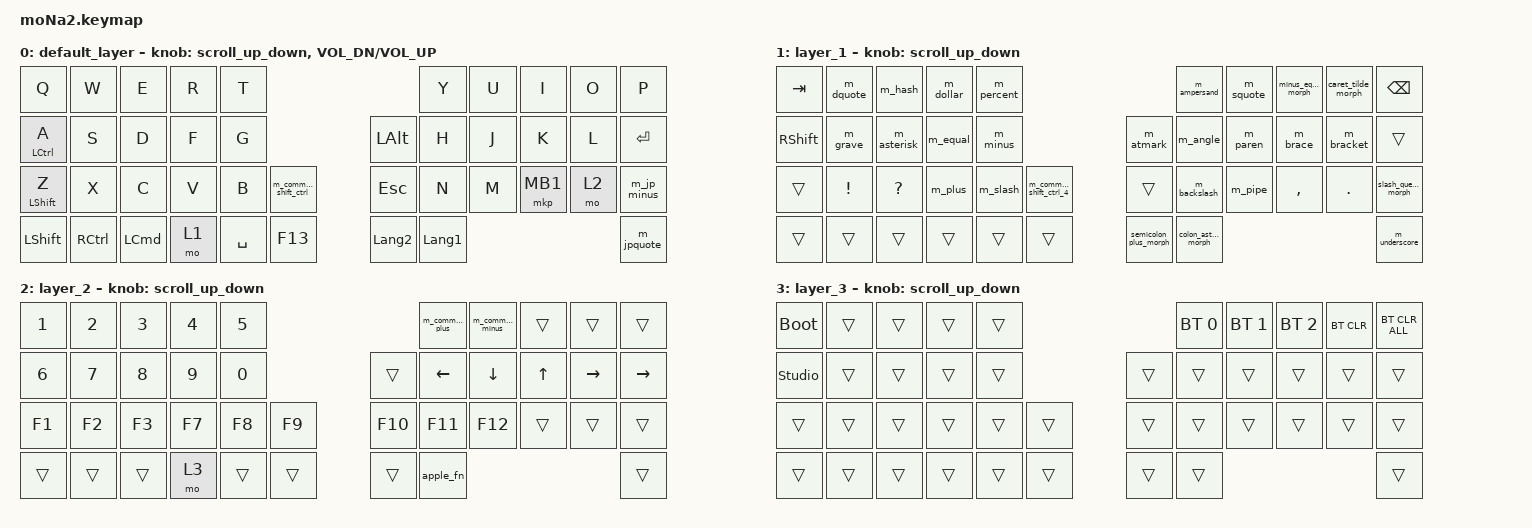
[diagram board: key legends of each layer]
// Define before including pointing.h to avoid redefinition warnings

#define ZMK_POINTING_DEFAULT_SCRL_VAL 100

#include <behaviors.dtsi>
#include <dt-bindings/zmk/bt.h>
#include <dt-bindings/zmk/keys.h>
#include <dt-bindings/zmk/pointing.h>

&mt {
    flavor = "balanced";
    quick-tap-ms = <0>;
};

/ {
    combos { compatible = "zmk,combos"; };

    macros {
        to_layer_0: to_layer_0 {
            compatible = "zmk,behavior-macro-one-param";
            #binding-cells = <1>;
            bindings = <&to 0 &macro_param_1to1 &kp MACRO_PLACEHOLDER>;
        };

        m_atmark: atmark {
            compatible = "zmk,behavior-macro";
            #binding-cells = <0>;
            bindings = <&kp LANG2 &kp AT>;
        };

        m_hash: hash {
            compatible = "zmk,behavior-macro";
            #binding-cells = <0>;
            bindings = <&kp LANG2 &kp HASH>;
        };

        m_dollar: dollar {
            compatible = "zmk,behavior-macro";
            #binding-cells = <0>;
            bindings = <&kp LANG2 &kp DOLLAR>;
        };

        m_percent: percent {
            compatible = "zmk,behavior-macro";
            #binding-cells = <0>;
            bindings = <&kp LANG2 &kp PERCENT>;
        };

        m_ampersand: ampersand {
            compatible = "zmk,behavior-macro";
            #binding-cells = <0>;
            bindings = <&kp LANG2 &kp AMPERSAND>;
        };

        m_minus: minus {
            compatible = "zmk,behavior-macro";
            #binding-cells = <0>;
            bindings = <&kp MINUS>;
        };

        m_caret: caret {
            compatible = "zmk,behavior-macro";
            #binding-cells = <0>;
            bindings = <&kp LANG2 &kp CARET>;
        };

        m_backslash: backslash {
            compatible = "zmk,behavior-macro";
            #binding-cells = <0>;
            bindings = <&kp LANG2 &kp BACKSLASH>;
        };

        m_tilde: tilde {
            compatible = "zmk,behavior-macro";
            #binding-cells = <0>;
            bindings = <&kp LANG2 &kp TILDE>;
        };

        m_pipe: pipe {
            compatible = "zmk,behavior-macro";
            #binding-cells = <0>;
            bindings = <&kp LANG2 &kp PIPE>;
        };

        m_asterisk: asterisk {
            compatible = "zmk,behavior-macro";
            #binding-cells = <0>;
            bindings = <&kp LANG2 &kp ASTERISK>;
        };

        m_plus: plus {
            compatible = "zmk,behavior-macro";
            #binding-cells = <0>;
            bindings = <&kp LANG2 &kp PLUS>;
        };

        m_equal: equal {
            compatible = "zmk,behavior-macro";
            #binding-cells = <0>;
            bindings = <&kp LANG2 &kp EQUAL>;
        };

        m_underscore: underscore {
            compatible = "zmk,behavior-macro";
            #binding-cells = <0>;
            bindings = <&kp LANG2 &kp UNDERSCORE>;
        };

        m_paren: paren {
            compatible = "zmk,behavior-macro";
            #binding-cells = <0>;
            bindings = <&kp LANG2 &kp LPAR &kp RPAR &kp LEFT>;
        };

        m_bracket: bracket {
            compatible = "zmk,behavior-macro";
            #binding-cells = <0>;
            bindings = <&kp LANG2 &kp LBKT &kp RBKT &kp LEFT>;
        };

        m_brace: brace {
            compatible = "zmk,behavior-macro";
            #binding-cells = <0>;
            bindings = <&kp LANG2 &kp LBRC &kp RBRC &kp LEFT>;
        };

        m_angle: angle {
            compatible = "zmk,behavior-macro";
            #binding-cells = <0>;
            bindings = <&kp LANG2 &kp LT &kp GT &kp LEFT>;
        };

        m_dquote: dquote {
            compatible = "zmk,behavior-macro";
            #binding-cells = <0>;
            bindings = <&kp LANG2 &kp DQT &kp DQT &kp LEFT>;
        };

        m_squote: squote {
            compatible = "zmk,behavior-macro";
            #binding-cells = <0>;
            bindings = <&kp LANG2 &kp SQT &kp SQT &kp LEFT>;
        };

        m_grave: grave {
            compatible = "zmk,behavior-macro";
            #binding-cells = <0>;
            bindings = <&kp LANG2 &kp GRAVE &kp GRAVE &kp LEFT>;
        };

        m_jpquote: jpquote {
            compatible = "zmk,behavior-macro";
            #binding-cells = <0>;
            bindings = <&kp LANG1 &kp LBKT &kp RBKT &kp ENTER &kp LEFT>;
        };

        m_colon: colon {
            compatible = "zmk,behavior-macro";
            #binding-cells = <0>;
            bindings = <&kp LANG2 &kp COLON>;
        };

        m_semicolon: semicolon {
            compatible = "zmk,behavior-macro";
            #binding-cells = <0>;
            bindings = <&kp LANG2 &kp SEMICOLON>;
        };

        m_slash: slash {
            compatible = "zmk,behavior-macro";
            #binding-cells = <0>;
            bindings = <&kp LANG2 &kp SLASH>;
        };

        m_question: question {
            compatible = "zmk,behavior-macro";
            #binding-cells = <0>;
            bindings = <&kp LANG2 &kp QUESTION>;
        };

        m_jp_minus: m_jp_minus {
            compatible = "zmk,behavior-macro";
            #binding-cells = <0>;
            bindings = <&kp LANG1 &kp MINUS>;
        };

        m_command_shift_ctrl: m_command_shift_ctrl {
            compatible = "zmk,behavior-macro";
            #binding-cells = <0>;
            bindings =
                <&macro_press>,
                <&kp LEFT_COMMAND &kp LEFT_SHIFT &kp RCTRL>,
                <&macro_pause_for_release>,
                <&macro_release>,
                <&kp LEFT_COMMAND &kp LEFT_SHIFT &kp RCTRL>;
        };

        m_command_shift_ctrl_4: m_command_shift_ctrl_4 {
            compatible = "zmk,behavior-macro";
            #binding-cells = <0>;
            bindings =
                <&macro_press>,
                <&kp LEFT_COMMAND &kp LEFT_SHIFT &kp RCTRL>,
                <&macro_tap>,
                <&kp NUMBER_4>,
                <&macro_release>,
                <&kp LEFT_COMMAND &kp LEFT_SHIFT &kp RCTRL>;
        };

        m_command_plus: m_command_plus {
            compatible = "zmk,behavior-macro";
            #binding-cells = <0>;
            bindings =
                <&macro_press>,
                <&kp LEFT_COMMAND>,
                <&macro_tap>,
                <&kp EQUAL>,
                <&macro_release>,
                <&kp LEFT_COMMAND>;
        };

        m_command_minus: m_command_minus {
            compatible = "zmk,behavior-macro";
            #binding-cells = <0>;
            bindings =
                <&macro_press>,
                <&kp LEFT_COMMAND>,
                <&macro_tap>,
                <&kp MINUS>,
                <&macro_release>,
                <&kp LEFT_COMMAND>;
        };

    };

    behaviors {
        lt_to_layer_0: lt_to_layer_0 {
            compatible = "zmk,behavior-hold-tap";
            bindings = <&mo>, <&to_layer_0>;

            #binding-cells = <2>;
            tapping-term-ms = <200>;
        };

        scroll_up_down: behavior_sensor_rotate_mouse_wheel_up_down {
            compatible = "zmk,behavior-sensor-rotate";
            #sensor-binding-cells = <0>;
            bindings = <&msc SCRL_UP>, <&msc SCRL_DOWN>;

            tap-ms = <20>;
        };

        minus_equal_morph: minus_equal_morph {
            compatible = "zmk,behavior-mod-morph";
            #binding-cells = <0>;
            bindings = <&m_minus>, <&m_equal>;

            mods = <(MOD_LSFT|MOD_RSFT)>;
        };

        caret_tilde_morph: caret_tilde_morph {
            compatible = "zmk,behavior-mod-morph";
            #binding-cells = <0>;
            bindings = <&m_caret>, <&m_tilde>;

            mods = <(MOD_LSFT|MOD_RSFT)>;
        };

        backslash_pipe_morph: backslash_pipe_morph {
            compatible = "zmk,behavior-mod-morph";
            #binding-cells = <0>;
            bindings = <&m_backslash>, <&m_pipe>;

            mods = <(MOD_LSFT|MOD_RSFT)>;
        };

        atmark_grave_morph: atmark_grave_morph {
            compatible = "zmk,behavior-mod-morph";
            #binding-cells = <0>;
            bindings = <&m_atmark>, <&m_grave>;

            mods = <(MOD_LSFT|MOD_RSFT)>;
        };

        bracket_brace_morph: bracket_brace_morph {
            compatible = "zmk,behavior-mod-morph";
            #binding-cells = <0>;
            bindings = <&m_bracket>, <&m_brace>;

            mods = <(MOD_LSFT|MOD_RSFT)>;
        };

        semicolon_plus_morph: semicolon_plus_morph {
            compatible = "zmk,behavior-mod-morph";
            #binding-cells = <0>;
            bindings = <&m_semicolon>, <&m_plus>;

            mods = <(MOD_LSFT|MOD_RSFT)>;
        };

        colon_asterisk_morph: colon_asterisk_morph {
            compatible = "zmk,behavior-mod-morph";
            #binding-cells = <0>;
            bindings = <&m_colon>, <&m_asterisk>;

            mods = <(MOD_LSFT|MOD_RSFT)>;
        };

        slash_question_morph: slash_question_morph {
            compatible = "zmk,behavior-mod-morph";
            #binding-cells = <0>;
            bindings = <&m_slash>, <&m_question>;

            mods = <(MOD_LSFT|MOD_RSFT)>;
        };
    };

    keymap {
        compatible = "zmk,keymap";

        default_layer {
            bindings = <
&kp Q           &kp W      &kp E             &kp R  &kp T                                               &kp Y           &kp U  &kp I     &kp O  &kp P
&mt LEFT_CONTROL A  &kp S      &kp D             &kp F  &kp G                               &kp LEFT_ALT    &kp H           &kp J  &kp K     &kp L  &kp ENTER
&mt LEFT_SHIFT Z    &kp X      &kp C             &kp V  &kp B      &m_command_shift_ctrl    &kp ESCAPE      &kp N           &kp M  &mkp MB1  &mo 2  &m_jp_minus
&kp LEFT_SHIFT  &kp RCTRL  &kp LEFT_COMMAND  &mo 1  &kp SPACE  &kp F13                  &kp LANGUAGE_2  &kp LANGUAGE_1                          &m_jpquote
            >;

            sensor-bindings =
                <&scroll_up_down>,
                <&inc_dec_kp C_VOL_DN C_VOL_UP>;
        };

        layer_1 {
            bindings = <
&kp TAB    &m_dquote        &m_hash       &m_dollar  &m_percent                                                    &m_ampersand           &m_squote  &minus_equal_morph  &caret_tilde_morph  &kp BACKSPACE
&kp RSHFT  &m_grave         &m_asterisk   &m_equal   &m_minus                               &m_atmark              &m_angle               &m_paren   &m_brace            &m_bracket          &trans
&trans     &kp EXCLAMATION  &kp QUESTION  &m_plus    &m_slash    &m_command_shift_ctrl_4    &trans                 &m_backslash           &m_pipe    &kp COMMA           &kp PERIOD          &slash_question_morph
&trans     &trans           &trans        &trans     &trans      &trans                     &semicolon_plus_morph  &colon_asterisk_morph                                                     &m_underscore
            >;

            sensor-bindings = <&scroll_up_down>;
        };

        layer_2 {
            bindings = <
&kp NUMBER_1  &kp NUMBER_2  &kp NUMBER_3  &kp NUMBER_4  &kp NUMBER_5                     &m_command_plus  &m_command_minus  &trans  &trans     &trans
&kp NUMBER_6  &kp NUMBER_7  &kp NUMBER_8  &kp NUMBER_9  &kp NUMBER_0            &trans   &kp LEFT         &kp DOWN          &kp UP  &kp RIGHT  &kp RIGHT
&kp F1        &kp F2        &kp F3        &kp F7        &kp F8        &kp F9    &kp F10  &kp F11          &kp F12           &trans  &trans     &trans
&trans        &trans        &trans        &mo 3         &trans        &trans    &trans   &apple_fn                                              &trans
            >;

            sensor-bindings = <&scroll_up_down>;
        };

        layer_3 {
            bindings = <
&bootloader  &trans  &trans  &trans  &trans                    &bt BT_SEL 0  &bt BT_SEL 1  &bt BT_SEL 2  &bt BT_CLR  &bt BT_CLR_ALL
&studio_unlock &trans  &trans  &trans  &trans            &trans  &trans        &trans        &trans        &trans      &trans
&trans       &trans  &trans  &trans  &trans  &trans    &trans  &trans        &trans        &trans        &trans      &trans
&trans       &trans  &trans  &trans  &trans  &trans    &trans  &trans                                                &trans
            >;

            sensor-bindings = <&scroll_up_down>;
        };
    };
};
